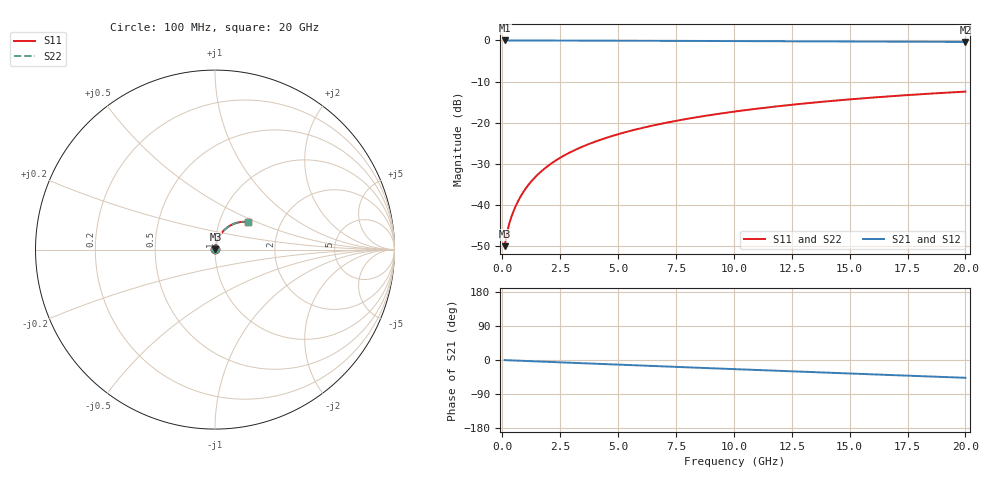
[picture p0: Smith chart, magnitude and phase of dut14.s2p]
! Touchstone file exported from HFSS 2026.1.0
!  File:  C:/ffzhzh/LocalFiles/Ansys_Project_Files/temp_train_TMRDL_14_1782880233_13352.aedt
!  Generated:  12:31:46 PM Jul  1, 2026
!  Design:  TMRDL
!  Project:  temp_train_TMRDL_14_1782880233_13352
! Variables:
!  h_bsmrdl = 2um
!  h_ox = 20um
!  h_rdl = 5um
!  h_sub = 80um
!  h_tmrdl = 4.2um
!  h_tsv = 80um
!  h_via = 3um
!  l_bsmrdl = 300um
!  l_sub = 1183.66um
!  l_tmrdl = 783.66um
!  m_sub = 200um
!  pitch = 43.61um
!  r_tsv = 6um
!  s_tmrdl = 10um
!  w_bsmrdl = 18um
!  w_sub = 500um
!  w_tmrdl = 29.55um
!  x_tsv_center1 = 798.435um
!  x_tsv_center2 = 1116.435um
!  x_tsv_center3 = 1929.645um
!  x_tsv_center4 = 2247.645um
!  x_tsv_center5 = 3060.855um
!  x_tsv_center6 = 3378.855um
# GHz S MA R 50.000000
! Terminal data exported
! Port[1] = TM_RDL1_1_T1
! Port[2] = TM_RDL1_1_T2
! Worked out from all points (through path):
!   200 points, 100 MHz to 20 GHz, reference 50 ohm
!   highest |S21| = -0.02 dB at 100 MHz (marker M1); lowest = -0.4 dB at 20 GHz (marker M2)
!   group delay of S21, straight-line fit = 6.51 ps
!   lowest |S11| = -49.9 dB at 100 MHz (marker M3), VSWR 1.01, Z = 50.3 + j0.191 ohm
!   |S11| at or under -10 dB: start of sweep to end of sweep
!   |S22| runs from -49.9 to -12.4 dB; largest |S21 - S12| = 2.7e-15
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0.1  0.003181 36.7  0.9975 -0.3  0.9975 -0.3  0.003181 36.7
! Gamma 0 0 0 0
! Port Impedance 50 0 50 0
0.2  0.004571 51.0  0.9972 -0.5  0.9972 -0.5  0.004571 51.0
0.3  0.005945 58.1  0.9969 -0.8  0.9969 -0.8  0.005945 58.1
0.4  0.007298 62.7  0.9968 -1.0  0.9968 -1.0  0.007298 62.7
0.5  0.008663 66.1  0.9966 -1.3  0.9966 -1.3  0.008663 66.1
0.6  0.01005 68.6  0.9965 -1.5  0.9965 -1.5  0.01005 68.6
0.8  0.01288 72.1  0.9964 -2.0  0.9964 -2.0  0.01288 72.1
1.1  0.01721 74.9  0.9962 -2.7  0.9962 -2.7  0.01721 74.9
1.3  0.02012 75.9  0.996 -3.2  0.996 -3.2  0.02012 75.9
1.6  0.02451 76.7  0.9957 -4.0  0.9957 -4.0  0.02451 76.7
2.1  0.03181 77.0  0.9952 -5.2  0.9952 -5.2  0.03181 77.0
2.7  0.04048 76.6  0.9944 -6.7  0.9944 -6.7  0.04048 76.6
3.5  0.05187 75.4  0.9933 -8.6  0.9933 -8.6  0.05187 75.4
4.2  0.06164 74.1  0.9921 -10.3  0.9921 -10.3  0.06164 74.1
5  0.0726 72.5  0.9907 -12.2  0.9907 -12.2  0.0726 72.5
5.9  0.08467 70.6  0.989 -14.4  0.989 -14.4  0.08466 70.6
6.8  0.09648 68.7  0.9873 -16.5  0.9873 -16.5  0.09647 68.7
8.3  0.1156 65.5  0.9843 -20.1  0.9843 -20.1  0.1156 65.5
10.1  0.1376 61.6  0.9805 -24.3  0.9805 -24.3  0.1376 61.6
13.4  0.1753 54.4  0.9731 -32.0  0.9731 -32.0  0.1752 54.4
16.7  0.2092 47.2  0.9655 -39.5  0.9655 -39.5  0.2091 47.2
20  0.2388 40.0  0.9579 -47.0  0.9579 -47.0  0.2387 40.1
